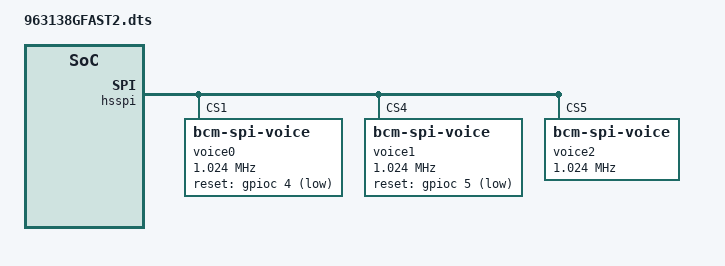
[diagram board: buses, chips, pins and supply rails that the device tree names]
#include "63138.dtsi"
#include "../bcm_voice.dtsi"

/ {
	memory_controller {
		memcfg = <(BP_DDR_SPEED_800_11_11_11   | \
			BP_DDR_TOTAL_SIZE_512MB  | \
			BP_DDR_DEVICE_WIDTH_16)>;
	};

	buttons {
		compatible = "brcm,buttons";
		reset_button {
			ext_irq = <&bca_extintr 32 BCA_GPIO_ACTIVE_LOW (BCA_EXTINTR_TYPE_LOW_LEVEL | BCA_EXTINTR_TYPE_SENSE_LEVEL)>;
			press {
				print = "Button Press -- Hold for 5s to do restore to default";
			};
			hold {
				rst_to_dflt = <5>;
			};
			release {
				reset = <0>;
			};	
		};
		ses_button {
			ext_irq = <&bca_extintr 33 BCA_GPIO_ACTIVE_LOW (BCA_EXTINTR_TYPE_LOW_LEVEL | BCA_EXTINTR_TYPE_SENSE_LEVEL)>;
			release {
				ses_short_period = <0>;
				ses_long_period = <3>;
			};
		};
	};
};

&bcm_voice{
	sliclist = SLICSLAC_LIST_COMMON_FXO;
 };

&hsspi {
	status = "okay";
	voice0 {
		pinctrl-0 = <&a_spim_ss1_b_pin_127>;
		pinctrl-names = "default";
		compatible = "bcm-spi-voice";
		reg = <1>; /* chip select 1 */
		spi-max-frequency = <1024000>;
		reset-gpio = <&gpioc 4 GPIO_ACTIVE_LOW>;
		spi-index = <0>;/* voice header index */
	};
	voice1 {
		pinctrl-0 = <&spim_ss4_b_pin_8>;
		pinctrl-names = "default";
		compatible = "bcm-spi-voice";
		reg = <4>; /* chip select 2 */
		spi-max-frequency = <1024000>;
		reset-gpio = <&gpioc 5 GPIO_ACTIVE_LOW>;
		spi-index = <1>;/* voice header index */
	};
	voice2 {
		pinctrl-0 = <&spim_ss5_b_pin_7>;
		pinctrl-names = "default";
		compatible = "bcm-spi-voice";
		reg = <5>; /* chip select 3 */
		spi-max-frequency = <1024000>;
		/*reset-gpio = NA;*/
		spi-index = <2>;/* voice header index */
	};
};

&vreg_sync {
		pinctrl-0 = <&vreg_clk_2_pin_37>;
		pinctrl-names = "default";
};

&mdio_sf2 {
	/* PHYs directly connected to SF2 */
	gphy8:8 {
		status = "okay";
	};
	gphy9:9 {
		status = "okay";
	};
	gphya:a {
		status = "okay";
	};

	/* PHYs connected to crossbar */
	gphyb:b {
		status = "okay";
	};
	gphyc:c {
		status = "okay";
	};

	/* Crossbar groups */
	xbar_grp0:0 {
		phy-handle = <&gphyb>;
		status = "okay";
	};
	xbar_grp2:2 {
		phy-handle = <&gphyc>;
		status = "okay";
	};
};

&switch_sf2 {
	ports {
		/* ports connect directly */
		sf2_port0@0 {
			phy-handle = <&gphy8>;
			network-leds = <&led0 &led1 &led10>;
			status = "okay";
		};

		sf2_port1@1 {
			phy-handle = <&gphy9>;
			network-leds = <&led2 &led3 &led11>;
			status = "okay";
		};

		sf2_port2@2 {
			phy-handle = <&gphya>;
			network-leds = <&led4 &led5 &led12>;
			status = "okay";
		};

		/* ports connected to crossbar */
		sf2_port3@3 {
			phy-handle = <&xbar_grp0>;
			network-leds = <&led6 &led7 &led13>;
			status = "okay";
		};
	};
};

&switch0 {
	ports {
		
		port0@0 {
			phy-handle = <&xbar_grp2>;
			phy-mode = "serdes";
			status = "okay";
		};
	};
};

&legacy_leds {
	adsl-led = <&led18>;
	adsl-fail-led = <&led16>;
	sec-adsl-led = <&led21>;
	sec-adsl-fail-led = <&led20>;
	wan-data-led = <&led15>;
	wl-sess-led = <&led17>;
};

&led_ctrl {
    pinctrl-names = "default";
    pinctrl-0 = <&ser_led_clk_pin_1 &ser_led_data_pin_0 &ser_led_mask_pin_2>;
    serial-shifters-installed = <2>;
    serial-data-polarity-high;

    led0: port_0-led_0-pin_100 {
        active_low;
        link = <(LED_SPEED_1G)>;
        status = "okay";
    };
    led1: port_0-led_1-pin_101 {
        active_low;
        link = <(LED_SPEED_100)>;
        status = "okay";
    };
    led2: port_1-led_0-pin_102 {
        active_low;
        link = <(LED_SPEED_1G)>;
        status = "okay";
    };
    led3: port_1-led_1-pin_103 {
        active_low;
        link = <(LED_SPEED_100)>;
        status = "okay";
    };
    led4: port_2-led_0-pin_104 {
        active_low;
        link = <(LED_SPEED_1G)>;
        status = "okay";
    };
    led5: port_2-led_1-pin_105 {
        active_low;
        link = <(LED_SPEED_100)>;
        status = "okay";
    };
    led6: port_3-led_0-bit_6 {
        active_high;
        link = <(LED_SPEED_1G)>;
        status = "okay";
    };
    led7: port_3-led_1-bit_7 {
        active_high;
        link = <(LED_SPEED_100)>;
        status = "okay";
    };
    led8: port_4-led_0-bit_8 {
        active_high;
        link = <(LED_SPEED_1G)>;
        status = "okay";
    };
    led9: port_4-led_1-bit_9 {
        active_high;
        link = <(LED_SPEED_100)>;
        status = "okay";
    };
    led10: port_0-led_2-bit_10 {
        active_high;
        activity = <(LED_SPEED_100|LED_SPEED_1G)>;
        link = <(LED_SPEED_100|LED_SPEED_1G)>;
        status = "okay";
    };
    led11: port_1-led_2-bit_11 {
        active_high;
        activity = <(LED_SPEED_100|LED_SPEED_1G)>;
        link = <(LED_SPEED_100|LED_SPEED_1G)>;
        status = "okay";
    };
    led12: port_2-led_2-bit_12 {
        active_high;
        activity = <(LED_SPEED_100|LED_SPEED_1G)>;
        link = <(LED_SPEED_100|LED_SPEED_1G)>;
        status = "okay";
    };
    led13: port_3-led_2-bit_13 {
        active_high;
        activity = <(LED_SPEED_100|LED_SPEED_1G)>;
        link = <(LED_SPEED_100|LED_SPEED_1G)>;
        status = "okay";
    };    
    led14: port_4-led_2-bit_14 {
        active_high;
        activity = <(LED_SPEED_100|LED_SPEED_1G)>;
        link = <(LED_SPEED_100|LED_SPEED_1G)>;
        status = "okay";
    };
    led15: wan_0-data-bit_15 {
        active_high;
        status = "okay";
    };
    led16: sw_led-bit_16 {
        active_high;
        status = "okay";
    };
    led17: sw_led-bit_17 {
        active_high;
        status = "okay";
    };
    led18: sw_led-bit_18 {
        active_high;
        status = "okay";
    };
    led19: wan_1-data-bit_19 {
        active_high;
        status = "okay";
    };
	led20: sw_led-bit_20 {
        active_high;
        status = "okay";
    };
	led21: sw_led-bit_21 {
        active_high;
        status = "okay";
    };
	/* power led */
	led32:led_gpio_116 {
		compatible = "brcm,gpio-led";
		software_led;
		pin = <116>;
		active_low;
        init_low;
	};
	/* power fail led */
	led33:led_gpio_118 {
		compatible = "brcm,gpio-led";
		software_led;
		pin = <118>;
		active_low;
        init_high;
	};

};
